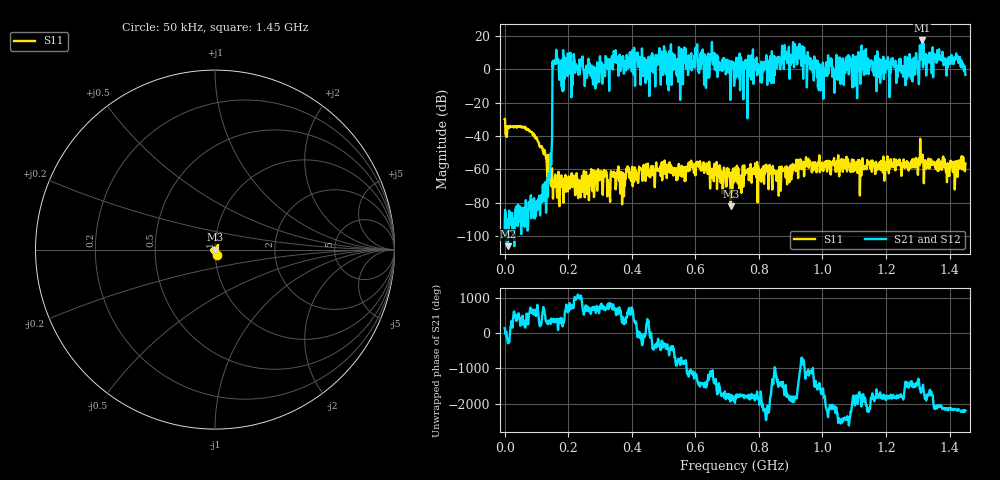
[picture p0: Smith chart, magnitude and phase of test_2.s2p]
! Created with skrf 1.11.0 (http://scikit-rf.org).
# Hz S RI R 50.0
!freq ReS11 ImS11 ReS21 ImS21 ReS12 ImS12 ReS22 ImS22
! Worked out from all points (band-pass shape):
!   1001 points, 50 kHz to 1.45 GHz, reference 50 ohm
!   highest |S21| = 17.15 dB at 1.314 GHz (marker M1); lowest = -105.9 dB at 10.2 MHz (marker M2)
!   |S21| within 3 dB of the highest: 523.361 MHz to 523.527 MHz (166 kHz wide, 0.0317 % of centre); 1.313329 GHz to 1.315367 GHz (2.038 MHz wide, 0.155 % of centre) (the widest 2 of 10)
!   lowest |S11| = -82.1 dB at 712 MHz (marker M3), VSWR 1.00, Z = 50 - j0.0078 ohm
!   |S11| at or under -10 dB: start of sweep to end of sweep
!   |S22| runs from - to - dB; largest |S21 - S12| = 0
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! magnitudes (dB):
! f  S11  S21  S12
! 50 kHz  -29.8  -98.3  -98.3
! 10.2 MHz  -34.4  -105.9  -105.9
! 69.65 MHz  -36.4  -93.7  -93.7
! 124.7 MHz  -48.3  -78.8  -78.8
! 142.1 MHz  -61.4  -64.7  -64.7
! 158.1 MHz  -67.4  5.1  5.1
! 242.2 MHz  -70.1  4.9  4.9
! 282.8 MHz  -69.8  -3.1  -3.1
! 349.5 MHz  -71.9  11.3  11.3
! 484.3 MHz  -59.5  2.8  2.8
! 609 MHz  -55.8  -1.3  -1.3
! 712 MHz  -82.1  1.0  1.0
! 725 MHz  -62.2  -1.3  -1.3
! 842.5 MHz  -72.0  5.4  5.4
! 920.8 MHz  -55.4  2.9  2.9
! 967.2 MHz  -61.8  5.1  5.1
! 990.4 MHz  -51.6  3.0  3.0
! 1.082 GHz  -55.6  8.3  8.3
! 1.209 GHz  -62.3  2.7  2.7
! 1.298 GHz  -55.9  4.6  4.6
! 1.314 GHz  -55.3  17.1  17.1
! 1.45 GHz  -56.4  -3.4  -3.4
